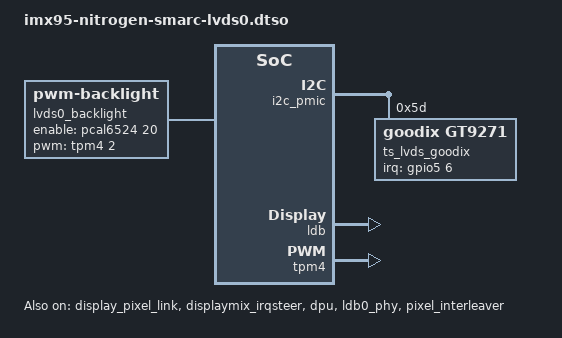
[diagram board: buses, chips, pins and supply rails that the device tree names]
// SPDX-License-Identifier: (GPL-2.0+ OR MIT)
/*
 * Copyright 2024 Ezurio LLC
 */

/dts-v1/;
/plugin/;

#include <dt-bindings/clock/fsl,imx95-clock.h>
#include <dt-bindings/gpio/gpio.h>
#include <dt-bindings/interrupt-controller/irq.h>

#include "imx95-pinfunc.h"

&{/} {
	lvds0_backlight: lvds0-backlight {
		brightness-levels = <0 1 2 3 4 5 6 7 8 9 10>;
		compatible = "pwm-backlight";
		default-brightness-level = <8>;
		enable-gpios = <&pcal6524 20 GPIO_ACTIVE_HIGH>;
		pwms = <&tpm4 2 30000 0>;
	};
};

&{/soc/} {
	lvds0-panel {
		compatible = "boundary,bd070-101"; /* For BD070LIC3 and BD101LCC3 */
		backlight = <&lvds0_backlight>;

		port {
			panel_lvds0_in: endpoint {
				remote-endpoint = <&lvds0_out>;
			};
		};
	};
};

&display_pixel_link {
	status = "okay";
};

&displaymix_irqsteer {
	status = "okay";
};

&dpu {
	status = "okay";
};

&i2c_pmic {
	#address-cells = <1>;
	#size-cells = <0>;
	status = "okay";

	ts_lvds_goodix: touchscreen@5d {
		compatible = "goodix,gt9271";
		reg = <0x5d>;
		pinctrl-names = "default";
		pinctrl-0 = <&pinctrl_lvds_goodix>;
		interrupts-extended = <&gpio5 6 IRQ_TYPE_LEVEL_HIGH>;
		irq-gpios = <&gpio5 6 GPIO_ACTIVE_HIGH>;
		status = "okay";
	};
};

&ldb {
	#address-cells = <1>;
	#size-cells = <0>;
	assigned-clocks = <&scmi_clk IMX95_CLK_LDBPLL_VCO>,
			  <&scmi_clk IMX95_CLK_LDBPLL>;
	assigned-clock-rates = <2986200000>, <497700000>;
	status = "okay";

	channel@0 {
		#address-cells = <1>;
		#size-cells = <0>;
		reg = <0>;
		status = "okay";

		port@1 {
			reg = <1>;

			lvds0_out: endpoint {
				remote-endpoint = <&panel_lvds0_in>;
			};
		};
	};
};

&ldb0_phy {
	status = "okay";
};

&pixel_interleaver {
	#address-cells = <1>;
	#size-cells = <0>;
	status = "okay";

	channel@0 {
		reg = <0>;
		status = "okay";
	};
};

&tpm4 {
	status = "okay";
};

&scmi_iomuxc {
	pinctrl_lvds_goodix: lvds0-goodixgrp {
		fsl,pins = <
			IMX95_PAD_XSPI1_DATA6__GPIO5_IO_BIT6	0x37e
		>;
	};
};
